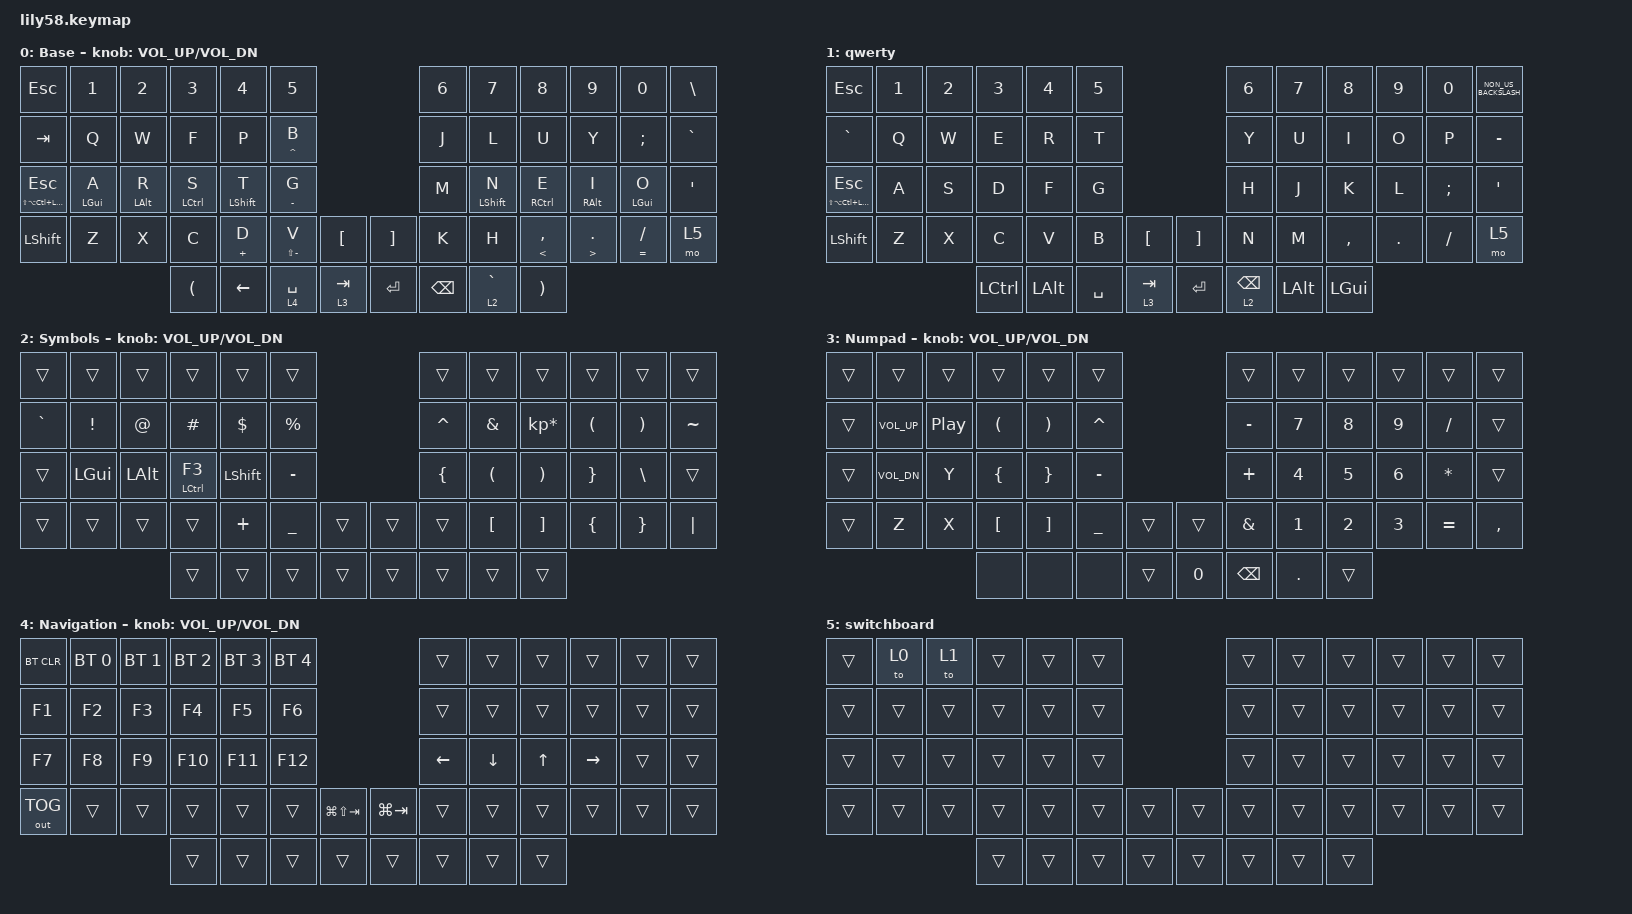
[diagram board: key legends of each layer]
/*
 * Copyright (c) 2020 The ZMK Contributors
 *
 * SPDX-License-Identifier: MIT
 */

#include <behaviors.dtsi>
#include <dt-bindings/zmk/bt.h>
#include <dt-bindings/zmk/keys.h>
#include <dt-bindings/zmk/outputs.h>

&mt {
    flavor = "tap-preferred";
    tapping_term_ms = <200>;
};

/ {
    behaviors {
        hm: homerow_mods {
            compatible = "zmk,behavior-hold-tap";
            label = "HOMEROW_MODS";
            #binding-cells = <2>;
            tapping-term-ms = <200>;
            quick_tap_ms = <0>;
            flavor = "tap-preferred";
            bindings = <&kp>, <&kp>;
        };

        td: tapdance {
            compatible = "zmk,behavior-hold-tap";
            label = "TAPDANCE";
            #binding-cells = <2>;
            tapping-term-ms = <150>;
            quick_tap_ms = <0>;
            flavor = "tap-preferred";
            bindings = <&kp>, <&kp>;
        };
    };

    keymap {
        compatible = "zmk,keymap";

        default_layer {
            // ------------------------------------------------------------------------------------------------------------
            // |  ESC  |  1  |  2  |  3   |  4   |  5   |                   |  6   |  7    |  8    |  9   |   0   |   `   |
            // |  TAB  |  Q  |  W  |  E   |  R   |  T   |                   |  Y   |  U    |  I    |  O   |   P   |   \   |
            // |  ESC  |  A  |  S  |  D   |  F   |  G   |                   |  H   |  J    |  K    |  L   |   ;   |   '   |
            // | SHIFT |  Z  |  X  |  C   |  V   |  B   |   "["  |  |  "]"  |  N   |  M    |  ,    |  .   |   /   | SHIFT |
            //                     | ALT  | GUI  | LOWER|  SPACE |  | ENTER | RAISE| BSPC  | GUI   |

            label = "Base";
            bindings = <
&kp ESC                       &kp N1      &kp N2      &kp N3       &kp N4       &kp N5                                  &kp N6    &kp N7       &kp N8        &kp N9      &kp N0          &kp BACKSLASH
&kp TAB                       &kp Q       &kp W       &kp F        &kp P        &td CARET B                             &kp J     &kp L        &kp U         &kp Y       &kp SEMICOLON   &kp GRAVE
&hm LS(LA(LC(LEFT_GUI))) ESC  &hm LGUI A  &hm LALT R  &hm LCTRL S  &hm LSHFT T  &td MINUS G                             &kp M     &hm LSHFT N  &hm RCTRL E   &hm RALT I  &hm LGUI O      &kp SQT
&kp LSHFT                     &kp Z       &kp X       &kp C        &td PLUS D   &td LS(MINUS) V  &kp LBKT     &kp RBKT  &kp K     &kp H        &td LT COMMA  &td GT DOT  &td EQUAL FSLH  &mo 5
                                                      &kp LPAR     &kp LEFT     &lt 4 SPACE      &lt 3 TAB    &kp RET   &kp BSPC  &lt 2 GRAVE  &kp RPAR
            >;

            sensor-bindings = <&inc_dec_kp C_VOL_UP C_VOL_DN>;
        };

        gaming {
            bindings = <
&kp ESC                       &kp N1  &kp N2  &kp N3     &kp N4        &kp N5                            &kp N6           &kp N7    &kp N8        &kp N9   &kp N0    &kp NON_US_BACKSLASH
&kp GRAVE                     &kp Q   &kp W   &kp E      &kp R         &kp T                             &kp Y            &kp U     &kp I         &kp O    &kp P     &kp MINUS
&hm LS(LA(LC(LEFT_GUI))) ESC  &kp A   &kp S   &kp D      &kp F         &kp G                             &kp H            &kp J     &kp K         &kp L    &kp SEMI  &kp APOS
&kp LSHFT                     &kp Z   &kp X   &kp C      &kp V         &kp B      &kp LBKT     &kp RBKT  &kp N            &kp M     &kp COMMA     &kp DOT  &kp FSLH  &mo 5
                                              &kp LCTRL  &kp LEFT_ALT  &kp SPACE  &lt 3 TAB    &kp RET   &lt 2 BACKSPACE  &kp LALT  &kp LEFT_GUI
            >;

            label = "qwerty";
        };

        symbols_layer {
            // ------------------------------------------------------------------------------------------------------------
            // | BTCLR | BT1 | BT2 |  BT3 |  BT4 |  BT5 |                   |      |       |       |      |       |       |
            // |  F1   |  F2 |  F3 |  F4  |  F5  |  F6  |                   |  F7  |  F8   |  F9   |  F10 |  F11  |  F12  |
            // |   `   |  !  |  @  |  #   |  $   |  %   |                   |  ^   |  &    |  *    |  (   |   )   |   ~   |
            // |       |     |     |      |      |      |        |  |       |      |  _    |  +    |  {   |   }   |  "|"  |
            //                     |      |      |      |        |  |       |      |       |       |

            label = "Symbols";
            bindings = <
&trans     &trans    &trans    &trans        &trans      &trans                            &trans     &trans            &trans             &trans    &trans    &trans
&kp GRAVE  &kp EXCL  &kp AT    &kp HASH      &kp DOLLAR  &kp PRCNT                         &kp CARET  &kp AMPS          &kp KP_MULTIPLY    &kp LPAR  &kp RPAR  &kp TILDE
&trans     &kp LGUI  &kp LALT  &hm LCTRL F3  &kp LSHIFT  &kp MINUS                         &kp LBRC   &kp LPAR          &kp RPAR           &kp RBRC  &kp BSLH  &trans
&trans     &trans    &trans    &trans        &kp PLUS    &kp UNDERSCORE  &trans    &trans  &trans     &kp LEFT_BRACKET  &kp RIGHT_BRACKET  &kp LBRC  &kp RBRC  &kp PIPE
                               &trans        &trans      &trans          &trans    &trans  &trans     &trans            &trans
            >;

            sensor-bindings = <&inc_dec_kp C_VOL_UP C_VOL_DN>;
        };

        numpad_layer {
            // ------------------------------------------------------------------------------------------------------------
            // |       |     |     |      |      |      |                   |      |       |       |      |       |       |
            // |   `   |  1  |  2  |  3   |  4   |  5   |                   |  6   |   7   |   8   |  9   |   0   |       |
            // |   F1  |  F2 |  F3 |  F4  |  F5  |  F6  |                   |      |   <-  |   v   |  ^   |  ->   |       |
            // |   F7  |  F8 |  F9 |  F10 |  F11 |  F12 |        |  |       |  +   |   -   |   =   |  [   |   ]   |   \   |
            //                     |      |      |      |        |  |       |      |       |       |

            label = "Numpad";
            bindings = <
&trans  &trans        &trans    &trans    &trans    &trans                       &trans     &trans   &trans  &trans  &trans     &trans
&trans  &kp C_VOL_UP  &kp C_PP  &kp LPAR  &kp RPAR  &kp CARET                    &kp MINUS  &kp N7   &kp N8  &kp N9  &kp FSLH   &trans
&trans  &kp C_VOL_DN  &kp Y     &kp LBRC  &kp RBRC  &kp MINUS                    &kp PLUS   &kp N4   &kp N5  &kp N6  &kp STAR   &trans
&trans  &kp Z         &kp X     &kp LBKT  &kp RBKT  &kp UNDER  &trans    &trans  &kp AMPS   &kp N1   &kp N2  &kp N3  &kp EQUAL  &kp COMMA
                                &none     &none     &none      &trans    &kp N0  &kp BSPC   &kp DOT  &trans
            >;

            sensor-bindings = <&inc_dec_kp C_VOL_UP C_VOL_DN>;
        };

        navigation_layer {
            // ------------------------------------------------------------------------------------------------------------
            // |       |     |     |      |      |      |                   |      |       |       |      |       |       |
            // |   `   |  1  |  2  |  3   |  4   |  5   |                   |  6   |   7   |   8   |  9   |   0   |       |
            // |   F1  |  F2 |  F3 |  F4  |  F5  |  F6  |                   |      |   <-  |   v   |  ^   |  ->   |       |
            // |   F7  |  F8 |  F9 |  F10 |  F11 |  F12 |        |  |       |  +   |   -   |   =   |  [   |   ]   |   \   |
            //                     |      |      |      |        |  |       |      |       |       |

            label = "Navigation";
            bindings = <
&bt BT_CLR    &bt BT_SEL 0  &bt BT_SEL 1  &bt BT_SEL 2  &bt BT_SEL 3  &bt BT_SEL 4                                  &trans    &trans    &trans  &trans     &trans  &trans
&kp F1        &kp F2        &kp F3        &kp F4        &kp F5        &kp F6                                        &trans    &trans    &trans  &trans     &trans  &trans
&kp F7        &kp F8        &kp F9        &kp F10       &kp F11       &kp F12                                       &kp LEFT  &kp DOWN  &kp UP  &kp RIGHT  &trans  &trans
&out OUT_TOG  &trans        &trans        &trans        &trans        &trans        &kp LG(LS(TAB))    &kp LG(TAB)  &trans    &trans    &trans  &trans     &trans  &trans
                                          &trans        &trans        &trans        &trans             &trans       &trans    &trans    &trans
            >;

            sensor-bindings = <&inc_dec_kp C_VOL_UP C_VOL_DN>;
        };

        switchboard {
            bindings = <
&trans  &to 0   &to 1   &trans  &trans  &trans                    &trans  &trans  &trans  &trans  &trans  &trans
&trans  &trans  &trans  &trans  &trans  &trans                    &trans  &trans  &trans  &trans  &trans  &trans
&trans  &trans  &trans  &trans  &trans  &trans                    &trans  &trans  &trans  &trans  &trans  &trans
&trans  &trans  &trans  &trans  &trans  &trans  &trans    &trans  &trans  &trans  &trans  &trans  &trans  &trans
                        &trans  &trans  &trans  &trans    &trans  &trans  &trans  &trans
            >;
        };
    };
};
